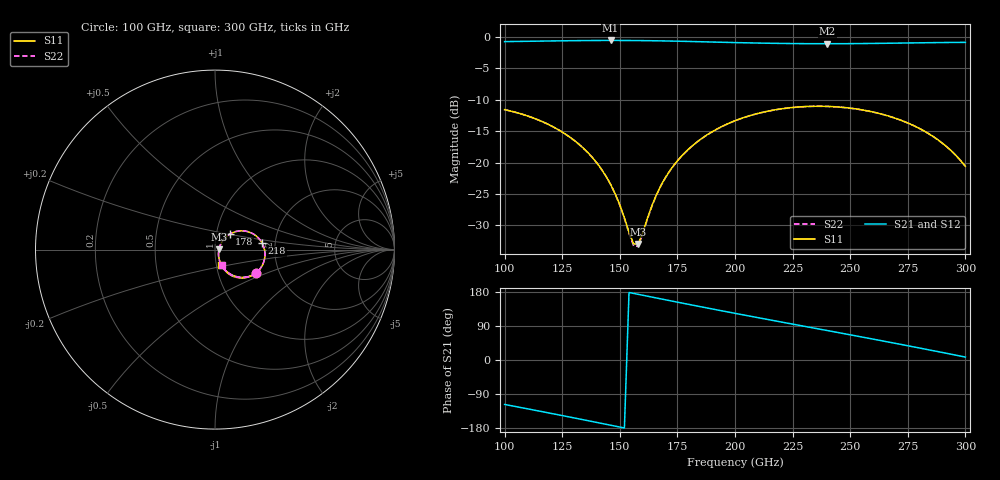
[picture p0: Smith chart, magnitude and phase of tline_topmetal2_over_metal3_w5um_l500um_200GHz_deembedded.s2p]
! Created with skrf 2.2.0 (http://scikit-rf.org).
# GHz S DB R 50.0
! Port[1] = P1
! Port[2] = P2
!freq dBS11 angS11 dBS21 angS21 dBS12 angS12 dBS22 angS22
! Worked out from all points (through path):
!   101 points, 100 GHz to 300 GHz, reference 50 ohm
!   highest |S21| = -0.56 dB at 146 GHz (marker M1); lowest = -1.1 dB at 240 GHz (marker M2)
!   group delay of S21, straight-line fit = 3.25 ps
!   lowest |S11| = -32.9 dB at 158 GHz (marker M3), VSWR 1.05, Z = 52.3 + j0.184 ohm
!   |S11| at or under -10 dB: start of sweep to end of sweep
!   |S22| runs from -33.3 to -11.0 dB; largest |S21 - S12| = 1.6e-13
!   S11 on the Smith chart (normalised r, x): 100 GHz: 1.52, -0.43; 178 GHz: 1.16, +0.20; 218 GHz: 1.70, +0.14; 300 GHz: 1.06, -0.18
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100  -11.57 -29.9  -0.74 -117.3  -0.74 -117.3  -11.57 -30.1
120  -14.10 -50.4  -0.64 -140.7  -0.64 -140.7  -14.11 -50.6
134  -17.64 -63.0  -0.58 -157.5  -0.58 -157.5  -17.65 -63.4
140  -20.03 -66.9  -0.56 -164.7  -0.56 -164.7  -20.04 -67.3
146  -23.45 -67.5  -0.56 -172.0  -0.56 -172.0  -23.47 -68.2
150  -26.72 -62.8  -0.56 -176.9  -0.56 -176.9  -26.78 -63.8
156  -32.92 -23.0  -0.57 175.7  -0.57 175.7  -33.26 -23.9
158  -32.94 4.5  -0.58 173.3  -0.58 173.3  -33.29 4.9
164  -26.78 44.4  -0.60 166.0  -0.60 166.0  -26.88 45.4
168  -23.53 49.1  -0.63 161.1  -0.63 161.1  -23.59 49.9
172  -21.14 49.3  -0.65 156.3  -0.65 156.3  -21.17 49.9
178  -18.50 46.4  -0.70 149.1  -0.70 149.1  -18.53 46.8
188  -15.55 38.2  -0.79 137.2  -0.79 137.2  -15.57 38.6
200  -13.33 26.6  -0.90 123.2  -0.90 123.2  -13.34 26.9
218  -11.56 8.2  -1.02 102.6  -1.02 102.6  -11.57 8.5
234  -11.03 -8.3  -1.07 84.5  -1.07 84.5  -11.04 -8.0
240  -11.05 -14.4  -1.08 77.8  -1.08 77.8  -11.06 -14.2
254  -11.53 -28.7  -1.05 61.9  -1.05 61.9  -11.55 -28.4
268  -12.74 -42.8  -0.99 45.8  -0.99 45.8  -12.75 -42.4
286  -15.84 -59.4  -0.91 24.6  -0.91 24.6  -15.85 -58.9
294  -18.16 -65.2  -0.88 15.0  -0.88 15.0  -18.17 -64.4
300  -20.59 -67.3  -0.86 7.8  -0.86 7.8  -20.58 -66.3
